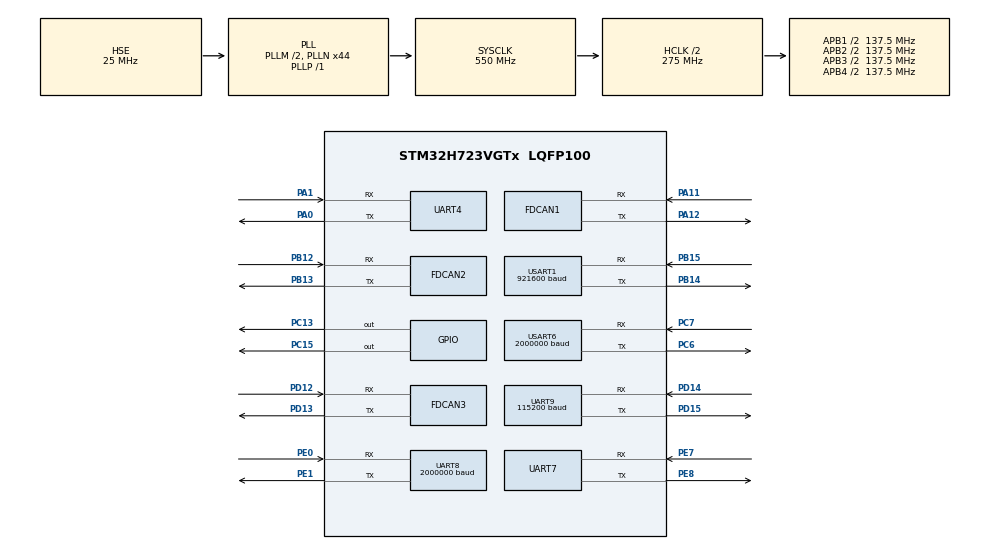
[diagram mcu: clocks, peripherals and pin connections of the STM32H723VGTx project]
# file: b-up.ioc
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CORTEX_M7.CPU_ICache=Enabled
CORTEX_M7.default_mode_Activation=1
Dma.Request0=USART1_RX
Dma.Request1=USART1_TX
Dma.Request10=USART6_RX
Dma.Request11=USART6_TX
Dma.Request2=UART4_TX
Dma.Request3=UART4_RX
Dma.Request4=UART7_RX
Dma.Request5=UART7_TX
Dma.Request6=UART9_RX
Dma.Request7=UART9_TX
Dma.Request8=UART8_RX
Dma.Request9=UART8_TX
Dma.UART4_RX.3.Direction=DMA_PERIPH_TO_MEMORY
Dma.UART4_RX.3.EventEnable=DISABLE
Dma.UART4_RX.3.FIFOMode=DMA_FIFOMODE_DISABLE
Dma.UART4_RX.3.Instance=DMA1_Stream5
Dma.UART4_RX.3.MemDataAlignment=DMA_MDATAALIGN_BYTE
Dma.UART4_RX.3.MemInc=DMA_MINC_ENABLE
Dma.UART4_RX.3.Mode=DMA_NORMAL
Dma.UART4_RX.3.PeriphDataAlignment=DMA_PDATAALIGN_BYTE
Dma.UART4_RX.3.PeriphInc=DMA_PINC_DISABLE
Dma.UART4_RX.3.Polarity=HAL_DMAMUX_REQ_GEN_RISING
Dma.UART4_RX.3.Priority=DMA_PRIORITY_LOW
Dma.UART4_RX.3.RequestNumber=1
Dma.UART4_RX.3.SignalID=NONE
Dma.UART4_RX.3.SyncEnable=DISABLE
Dma.UART4_RX.3.SyncPolarity=HAL_DMAMUX_SYNC_NO_EVENT
Dma.UART4_RX.3.SyncRequestNumber=1
Dma.UART4_RX.3.SyncSignalID=NONE
Dma.UART4_TX.2.Direction=DMA_MEMORY_TO_PERIPH
Dma.UART4_TX.2.EventEnable=DISABLE
Dma.UART4_TX.2.FIFOMode=DMA_FIFOMODE_DISABLE
Dma.UART4_TX.2.Instance=DMA1_Stream4
Dma.UART4_TX.2.MemDataAlignment=DMA_MDATAALIGN_BYTE
Dma.UART4_TX.2.MemInc=DMA_MINC_ENABLE
Dma.UART4_TX.2.Mode=DMA_NORMAL
Dma.UART4_TX.2.PeriphDataAlignment=DMA_PDATAALIGN_BYTE
Dma.UART4_TX.2.PeriphInc=DMA_PINC_DISABLE
Dma.UART4_TX.2.Polarity=HAL_DMAMUX_REQ_GEN_RISING
Dma.UART4_TX.2.Priority=DMA_PRIORITY_LOW
Dma.UART4_TX.2.RequestNumber=1
Dma.UART4_TX.2.SignalID=NONE
Dma.UART4_TX.2.SyncEnable=DISABLE
Dma.UART4_TX.2.SyncPolarity=HAL_DMAMUX_SYNC_NO_EVENT
Dma.UART4_TX.2.SyncRequestNumber=1
Dma.UART4_TX.2.SyncSignalID=NONE
Dma.UART7_RX.4.Direction=DMA_PERIPH_TO_MEMORY
Dma.UART7_RX.4.EventEnable=DISABLE
Dma.UART7_RX.4.FIFOMode=DMA_FIFOMODE_DISABLE
Dma.UART7_RX.4.Instance=DMA1_Stream6
Dma.UART7_RX.4.MemDataAlignment=DMA_MDATAALIGN_BYTE
Dma.UART7_RX.4.MemInc=DMA_MINC_ENABLE
Dma.UART7_RX.4.Mode=DMA_CIRCULAR
Dma.UART7_RX.4.PeriphDataAlignment=DMA_PDATAALIGN_BYTE
Dma.UART7_RX.4.PeriphInc=DMA_PINC_DISABLE
Dma.UART7_RX.4.Polarity=HAL_DMAMUX_REQ_GEN_RISING
Dma.UART7_RX.4.Priority=DMA_PRIORITY_LOW
Dma.UART7_RX.4.RequestNumber=1
Dma.UART7_RX.4.SignalID=NONE
Dma.UART7_RX.4.SyncEnable=DISABLE
Dma.UART7_RX.4.SyncPolarity=HAL_DMAMUX_SYNC_NO_EVENT
Dma.UART7_RX.4.SyncRequestNumber=1
Dma.UART7_RX.4.SyncSignalID=NONE
Dma.UART7_TX.5.Direction=DMA_MEMORY_TO_PERIPH
Dma.UART7_TX.5.EventEnable=DISABLE
Dma.UART7_TX.5.FIFOMode=DMA_FIFOMODE_DISABLE
Dma.UART7_TX.5.Instance=DMA1_Stream7
Dma.UART7_TX.5.MemDataAlignment=DMA_MDATAALIGN_BYTE
Dma.UART7_TX.5.MemInc=DMA_MINC_ENABLE
Dma.UART7_TX.5.Mode=DMA_NORMAL
Dma.UART7_TX.5.PeriphDataAlignment=DMA_PDATAALIGN_BYTE
Dma.UART7_TX.5.PeriphInc=DMA_PINC_DISABLE
Dma.UART7_TX.5.Polarity=HAL_DMAMUX_REQ_GEN_RISING
Dma.UART7_TX.5.Priority=DMA_PRIORITY_LOW
Dma.UART7_TX.5.RequestNumber=1
Dma.UART7_TX.5.SignalID=NONE
Dma.UART7_TX.5.SyncEnable=DISABLE
Dma.UART7_TX.5.SyncPolarity=HAL_DMAMUX_SYNC_NO_EVENT
Dma.UART7_TX.5.SyncRequestNumber=1
Dma.UART7_TX.5.SyncSignalID=NONE
Dma.UART8_RX.8.Direction=DMA_PERIPH_TO_MEMORY
Dma.UART8_RX.8.EventEnable=DISABLE
Dma.UART8_RX.8.FIFOMode=DMA_FIFOMODE_DISABLE
Dma.UART8_RX.8.Instance=DMA2_Stream2
Dma.UART8_RX.8.MemDataAlignment=DMA_MDATAALIGN_BYTE
Dma.UART8_RX.8.MemInc=DMA_MINC_ENABLE
Dma.UART8_RX.8.Mode=DMA_NORMAL
Dma.UART8_RX.8.PeriphDataAlignment=DMA_PDATAALIGN_BYTE
Dma.UART8_RX.8.PeriphInc=DMA_PINC_DISABLE
Dma.UART8_RX.8.Polarity=HAL_DMAMUX_REQ_GEN_RISING
Dma.UART8_RX.8.Priority=DMA_PRIORITY_LOW
Dma.UART8_RX.8.RequestNumber=1
Dma.UART8_RX.8.SignalID=NONE
Dma.UART8_RX.8.SyncEnable=DISABLE
Dma.UART8_RX.8.SyncPolarity=HAL_DMAMUX_SYNC_NO_EVENT
Dma.UART8_RX.8.SyncRequestNumber=1
Dma.UART8_RX.8.SyncSignalID=NONE
Dma.UART8_TX.9.Direction=DMA_MEMORY_TO_PERIPH
Dma.UART8_TX.9.EventEnable=DISABLE
Dma.UART8_TX.9.FIFOMode=DMA_FIFOMODE_DISABLE
Dma.UART8_TX.9.Instance=DMA2_Stream3
Dma.UART8_TX.9.MemDataAlignment=DMA_MDATAALIGN_BYTE
Dma.UART8_TX.9.MemInc=DMA_MINC_ENABLE
Dma.UART8_TX.9.Mode=DMA_NORMAL
Dma.UART8_TX.9.PeriphDataAlignment=DMA_PDATAALIGN_BYTE
Dma.UART8_TX.9.PeriphInc=DMA_PINC_DISABLE
Dma.UART8_TX.9.Polarity=HAL_DMAMUX_REQ_GEN_RISING
Dma.UART8_TX.9.Priority=DMA_PRIORITY_LOW
Dma.UART8_TX.9.RequestNumber=1
Dma.UART8_TX.9.SignalID=NONE
Dma.UART8_TX.9.SyncEnable=DISABLE
Dma.UART8_TX.9.SyncPolarity=HAL_DMAMUX_SYNC_NO_EVENT
Dma.UART8_TX.9.SyncRequestNumber=1
Dma.UART8_TX.9.SyncSignalID=NONE
Dma.UART9_RX.6.Direction=DMA_PERIPH_TO_MEMORY
Dma.UART9_RX.6.EventEnable=DISABLE
Dma.UART9_RX.6.FIFOMode=DMA_FIFOMODE_DISABLE
Dma.UART9_RX.6.Instance=DMA2_Stream0
Dma.UART9_RX.6.MemDataAlignment=DMA_MDATAALIGN_BYTE
Dma.UART9_RX.6.MemInc=DMA_MINC_ENABLE
Dma.UART9_RX.6.Mode=DMA_NORMAL
Dma.UART9_RX.6.PeriphDataAlignment=DMA_PDATAALIGN_BYTE
Dma.UART9_RX.6.PeriphInc=DMA_PINC_DISABLE
Dma.UART9_RX.6.Polarity=HAL_DMAMUX_REQ_GEN_RISING
Dma.UART9_RX.6.Priority=DMA_PRIORITY_LOW
Dma.UART9_RX.6.RequestNumber=1
Dma.UART9_RX.6.SignalID=NONE
Dma.UART9_RX.6.SyncEnable=DISABLE
Dma.UART9_RX.6.SyncPolarity=HAL_DMAMUX_SYNC_NO_EVENT
Dma.UART9_RX.6.SyncRequestNumber=1
Dma.UART9_RX.6.SyncSignalID=NONE
Dma.UART9_TX.7.Direction=DMA_MEMORY_TO_PERIPH
Dma.UART9_TX.7.EventEnable=DISABLE
Dma.UART9_TX.7.FIFOMode=DMA_FIFOMODE_DISABLE
Dma.UART9_TX.7.Instance=DMA2_Stream1
Dma.UART9_TX.7.MemDataAlignment=DMA_MDATAALIGN_BYTE
Dma.UART9_TX.7.MemInc=DMA_MINC_ENABLE
Dma.UART9_TX.7.Mode=DMA_NORMAL
Dma.UART9_TX.7.PeriphDataAlignment=DMA_PDATAALIGN_BYTE
Dma.UART9_TX.7.PeriphInc=DMA_PINC_DISABLE
Dma.UART9_TX.7.Polarity=HAL_DMAMUX_REQ_GEN_RISING
Dma.UART9_TX.7.Priority=DMA_PRIORITY_LOW
Dma.UART9_TX.7.RequestNumber=1
Dma.UART9_TX.7.SignalID=NONE
Dma.UART9_TX.7.SyncEnable=DISABLE
Dma.UART9_TX.7.SyncPolarity=HAL_DMAMUX_SYNC_NO_EVENT
Dma.UART9_TX.7.SyncRequestNumber=1
Dma.UART9_TX.7.SyncSignalID=NONE
Dma.USART1_RX.0.Direction=DMA_PERIPH_TO_MEMORY
Dma.USART1_RX.0.EventEnable=DISABLE
Dma.USART1_RX.0.FIFOMode=DMA_FIFOMODE_DISABLE
Dma.USART1_RX.0.Instance=DMA1_Stream2
Dma.USART1_RX.0.MemDataAlignment=DMA_MDATAALIGN_BYTE
Dma.USART1_RX.0.MemInc=DMA_MINC_ENABLE
Dma.USART1_RX.0.Mode=DMA_CIRCULAR
Dma.USART1_RX.0.PeriphDataAlignment=DMA_PDATAALIGN_BYTE
Dma.USART1_RX.0.PeriphInc=DMA_PINC_DISABLE
Dma.USART1_RX.0.Polarity=HAL_DMAMUX_REQ_GEN_RISING
Dma.USART1_RX.0.Priority=DMA_PRIORITY_VERY_HIGH
Dma.USART1_RX.0.RequestNumber=1
Dma.USART1_RX.0.SignalID=NONE
Dma.USART1_RX.0.SyncEnable=DISABLE
Dma.USART1_RX.0.SyncPolarity=HAL_DMAMUX_SYNC_NO_EVENT
Dma.USART1_RX.0.SyncRequestNumber=1
Dma.USART1_RX.0.SyncSignalID=NONE
Dma.USART1_TX.1.Direction=DMA_MEMORY_TO_PERIPH
Dma.USART1_TX.1.EventEnable=DISABLE
Dma.USART1_TX.1.FIFOMode=DMA_FIFOMODE_DISABLE
Dma.USART1_TX.1.Instance=DMA1_Stream3
Dma.USART1_TX.1.MemDataAlignment=DMA_MDATAALIGN_BYTE
Dma.USART1_TX.1.MemInc=DMA_MINC_ENABLE
Dma.USART1_TX.1.Mode=DMA_NORMAL
Dma.USART1_TX.1.PeriphDataAlignment=DMA_PDATAALIGN_BYTE
Dma.USART1_TX.1.PeriphInc=DMA_PINC_DISABLE
Dma.USART1_TX.1.Polarity=HAL_DMAMUX_REQ_GEN_RISING
Dma.USART1_TX.1.Priority=DMA_PRIORITY_HIGH
Dma.USART1_TX.1.RequestNumber=1
Dma.USART1_TX.1.SignalID=NONE
Dma.USART1_TX.1.SyncEnable=DISABLE
Dma.USART1_TX.1.SyncPolarity=HAL_DMAMUX_SYNC_NO_EVENT
Dma.USART1_TX.1.SyncRequestNumber=1
Dma.USART1_TX.1.SyncSignalID=NONE
Dma.USART6_RX.10.Direction=DMA_PERIPH_TO_MEMORY
Dma.USART6_RX.10.EventEnable=DISABLE
Dma.USART6_RX.10.FIFOMode=DMA_FIFOMODE_DISABLE
Dma.USART6_RX.10.Instance=DMA1_Stream0
Dma.USART6_RX.10.MemDataAlignment=DMA_MDATAALIGN_BYTE
Dma.USART6_RX.10.MemInc=DMA_MINC_ENABLE
Dma.USART6_RX.10.Mode=DMA_CIRCULAR
Dma.USART6_RX.10.PeriphDataAlignment=DMA_PDATAALIGN_BYTE
Dma.USART6_RX.10.PeriphInc=DMA_PINC_DISABLE
Dma.USART6_RX.10.Polarity=HAL_DMAMUX_REQ_GEN_RISING
Dma.USART6_RX.10.Priority=DMA_PRIORITY_LOW
Dma.USART6_RX.10.RequestNumber=1
Dma.USART6_RX.10.SignalID=NONE
Dma.USART6_RX.10.SyncEnable=DISABLE
Dma.USART6_RX.10.SyncPolarity=HAL_DMAMUX_SYNC_NO_EVENT
Dma.USART6_RX.10.SyncRequestNumber=1
Dma.USART6_RX.10.SyncSignalID=NONE
Dma.USART6_TX.11.Direction=DMA_MEMORY_TO_PERIPH
Dma.USART6_TX.11.EventEnable=DISABLE
Dma.USART6_TX.11.FIFOMode=DMA_FIFOMODE_DISABLE
Dma.USART6_TX.11.Instance=DMA1_Stream1
Dma.USART6_TX.11.MemDataAlignment=DMA_MDATAALIGN_BYTE
Dma.USART6_TX.11.MemInc=DMA_MINC_ENABLE
Dma.USART6_TX.11.Mode=DMA_NORMAL
Dma.USART6_TX.11.PeriphDataAlignment=DMA_PDATAALIGN_BYTE
Dma.USART6_TX.11.PeriphInc=DMA_PINC_DISABLE
Dma.USART6_TX.11.Polarity=HAL_DMAMUX_REQ_GEN_RISING
Dma.USART6_TX.11.Priority=DMA_PRIORITY_LOW
Dma.USART6_TX.11.RequestNumber=1
Dma.USART6_TX.11.SignalID=NONE
Dma.USART6_TX.11.SyncEnable=DISABLE
Dma.USART6_TX.11.SyncPolarity=HAL_DMAMUX_SYNC_NO_EVENT
Dma.USART6_TX.11.SyncRequestNumber=1
Dma.USART6_TX.11.SyncSignalID=NONE
FDCAN1.AutoRetransmission=ENABLE
FDCAN1.CalculateBaudRateNominal=1000000
FDCAN1.CalculateTimeBitNominal=1000
FDCAN1.CalculateTimeQuantumNominal=50.0
FDCAN1.DataPrescaler=5
FDCAN1.DataSyncJumpWidth=5
FDCAN1.DataTimeSeg1=14
FDCAN1.DataTimeSeg2=5
FDCAN1.ExtFiltersNbr=8
FDCAN1.MessageRAMOffset=0
FDCAN1.NominalPrescaler=5
FDCAN1.NominalSyncJumpWidth=5
FDCAN1.NominalTimeSeg1=14
FDCAN1.NominalTimeSeg2=5
FDCAN1.RxFifo0ElmtsNbr=32
FDCAN1.TxFifoQueueElmtsNbr=16
FDCAN2.AutoRetransmission=ENABLE
FDCAN2.CalculateBaudRateNominal=1000000
FDCAN2.CalculateTimeBitNominal=1000
FDCAN2.CalculateTimeQuantumNominal=50.0
FDCAN2.DataPrescaler=5
FDCAN2.DataSyncJumpWidth=5
FDCAN2.DataTimeSeg1=14
FDCAN2.DataTimeSeg2=5
FDCAN2.ExtFiltersNbr=8
FDCAN2.MessageRAMOffset=208
FDCAN2.NominalPrescaler=5
FDCAN2.NominalSyncJumpWidth=5
FDCAN2.NominalTimeSeg1=14
FDCAN2.NominalTimeSeg2=5
FDCAN2.RxFifo0ElmtsNbr=32
FDCAN2.TxFifoQueueElmtsNbr=16
FDCAN3.AutoRetransmission=ENABLE
FDCAN3.CalculateBaudRateNominal=1000000
FDCAN3.CalculateTimeBitNominal=1000
FDCAN3.CalculateTimeQuantumNominal=50.0
FDCAN3.DataPrescaler=5
FDCAN3.DataSyncJumpWidth=5
FDCAN3.DataTimeSeg1=14
FDCAN3.DataTimeSeg2=5
FDCAN3.MessageRAMOffset=416
FDCAN3.NominalPrescaler=5
FDCAN3.NominalSyncJumpWidth=5
FDCAN3.NominalTimeSeg1=14
FDCAN3.NominalTimeSeg2=5
FDCAN3.RxFifo0ElmtsNbr=32
FDCAN3.StdFiltersNbr=8
FDCAN3.TxFifoQueueElmtsNbr=16
FREERTOS.HEAP_NUMBER=4
FREERTOS.INCLUDE_eTaskGetState=1
FREERTOS.INCLUDE_uxTaskGetStackHighWaterMark=1
FREERTOS.INCLUDE_vTaskDelayUntil=1
FREERTOS.Tasks01=startupReminder,24,256,StartStartupReminderTask,As weak,NULL,Dynamic,NULL,NULL;chassisTask,32,1024,StartChassisTask,As weak,NULL,Dynamic,NULL,NULL;liftTask,32,1024,StartLiftTask,As weak,NULL,Dynamic,NULL,NULL;commTask,40,768,StartCommTask,As weak,NULL,Dynamic,NULL,NULL
FREERTOS.configCHECK_FOR_STACK_OVERFLOW=2
FREERTOS.configENABLE_FPU=1
FREERTOS.configMINIMAL_STACK_SIZE=256
FREERTOS.configTICK_RATE_HZ=1000
FREERTOS.configTOTAL_HEAP_SIZE=65536
FREERTOS.configUSE_MALLOC_FAILED_HOOK=1
FREERTOS.configUSE_NEWLIB_REENTRANT=0
FREERTOS.configUSE_PREEMPTION=1
FREERTOS.configUSE_TIMERS=0
Mcu.Family=STM32H7
Mcu.Name=STM32H723VGTx
Mcu.Package=LQFP100
NVIC.DMA1_Stream0_IRQn=true\:5\:0\:false\:false\:true\:true\:true\:true\:true
NVIC.DMA1_Stream1_IRQn=true\:5\:0\:false\:false\:true\:true\:true\:true\:true
NVIC.DMA1_Stream2_IRQn=true\:5\:0\:false\:false\:true\:false\:true\:true\:true
NVIC.DMA1_Stream3_IRQn=true\:5\:0\:false\:false\:true\:false\:true\:true\:true
NVIC.DMA1_Stream4_IRQn=true\:5\:0\:false\:false\:true\:true\:false\:true\:true
NVIC.DMA1_Stream5_IRQn=true\:5\:0\:false\:false\:true\:true\:false\:true\:true
NVIC.DMA1_Stream6_IRQn=true\:5\:0\:false\:false\:true\:true\:false\:true\:true
NVIC.DMA1_Stream7_IRQn=true\:5\:0\:false\:false\:true\:true\:false\:true\:true
NVIC.DMA2_Stream0_IRQn=true\:5\:0\:false\:false\:true\:true\:false\:true\:true
NVIC.DMA2_Stream1_IRQn=true\:5\:0\:false\:false\:true\:true\:false\:true\:true
NVIC.DMA2_Stream2_IRQn=true\:5\:0\:false\:false\:true\:true\:false\:true\:true
NVIC.DMA2_Stream3_IRQn=true\:5\:0\:false\:false\:true\:true\:false\:true\:true
NVIC.FDCAN1_IT0_IRQn=true\:5\:0\:false\:false\:true\:true\:true\:true\:true
NVIC.FDCAN2_IT0_IRQn=true\:5\:0\:false\:false\:true\:true\:true\:true\:true
NVIC.FDCAN3_IT0_IRQn=true\:5\:0\:false\:false\:true\:true\:true\:true\:true
NVIC.PriorityGroup=NVIC_PRIORITYGROUP_4
NVIC.TIM6_DAC_IRQn=true\:15\:0\:false\:false\:true\:false\:false\:true\:true
NVIC.TimeBase=TIM6_DAC_IRQn
NVIC.TimeBaseIP=TIM6
NVIC.UART4_IRQn=true\:5\:0\:false\:false\:true\:true\:false\:true\:true
NVIC.UART7_IRQn=true\:5\:0\:false\:false\:true\:true\:true\:true\:true
NVIC.UART8_IRQn=true\:5\:0\:false\:false\:true\:true\:true\:true\:true
NVIC.UART9_IRQn=true\:5\:0\:false\:false\:true\:true\:true\:true\:true
NVIC.USART1_IRQn=true\:5\:0\:false\:false\:true\:false\:true\:true\:true
NVIC.USART6_IRQn=true\:5\:0\:false\:false\:true\:true\:true\:true\:true
PA0.Mode=Asynchronous
PA0.Signal=UART4_TX
PA1.Mode=Asynchronous
PA1.Signal=UART4_RX
PA11.Mode=FDCAN_Activate
PA11.Signal=FDCAN1_RX
PA12.Mode=FDCAN_Activate
PA12.Signal=FDCAN1_TX
PA13(JTMS/SWDIO).Mode=Serial_Wire
PA13(JTMS/SWDIO).Signal=DEBUG_JTMS-SWDIO
PA14(JTCK/SWCLK).Mode=Serial_Wire
PA14(JTCK/SWCLK).Signal=DEBUG_JTCK-SWCLK
PB12.Mode=FDCAN_Activate
PB12.Signal=FDCAN2_RX
PB13.Mode=FDCAN_Activate
PB13.Signal=FDCAN2_TX
PB14.Mode=Asynchronous
PB14.Signal=USART1_TX
PB15.Mode=Asynchronous
PB15.Signal=USART1_RX
PC13.Signal=GPIO_Output
PC15-OSC32_OUT.Signal=GPIO_Output
PC6.Mode=Asynchronous
PC6.Signal=USART6_TX
PC7.Mode=Asynchronous
PC7.Signal=USART6_RX
PD12.Mode=FDCAN_Activate
PD12.Signal=FDCAN3_RX
PD13.Mode=FDCAN_Activate
PD13.Signal=FDCAN3_TX
PD14.Mode=Asynchronous
PD14.Signal=UART9_RX
PD15.Mode=Asynchronous
PD15.Signal=UART9_TX
PE0.Mode=Asynchronous
PE0.Signal=UART8_RX
PE1.Mode=Asynchronous
PE1.Signal=UART8_TX
PE7.Mode=Asynchronous
PE7.Signal=UART7_RX
PE8.Mode=Asynchronous
PE8.Signal=UART7_TX
PH0-OSC_IN.Mode=HSE-External-Oscillator
PH0-OSC_IN.Signal=RCC_OSC_IN
PH1-OSC_OUT.Mode=HSE-External-Oscillator
PH1-OSC_OUT.Signal=RCC_OSC_OUT
ProjectManager.HeapSize=0x200
ProjectManager.StackSize=0x1000
ProjectManager.TargetToolchain=MDK-ARM V5.32
RCC.ADCFreq_Value=100000000
RCC.APB1Freq_Value=137500000
RCC.APB2Freq_Value=137500000
RCC.APB3Freq_Value=137500000
RCC.APB4Freq_Value=137500000
RCC.CortexFreq_Value=550000000
RCC.D1PPRE=RCC_APB3_DIV2
RCC.D2PPRE1=RCC_APB1_DIV2
RCC.D2PPRE2=RCC_APB2_DIV2
RCC.D3PPRE=RCC_APB4_DIV2
RCC.DIVM1=2
RCC.DIVM2=2
RCC.DIVM3=5
RCC.DIVN1=44
RCC.DIVN2=16
RCC.DIVN3=64
RCC.DIVP1=1
RCC.DIVQ1=4
RCC.DIVQ2=2
RCC.FDCANCLockSelection=RCC_FDCANCLKSOURCE_PLL2
RCC.HCLKFreq_Value=275000000
RCC.HPRE=RCC_HCLK_DIV2
RCC.PLL2FRACN=0
RCC.PLLFRACN=0
RCC.PLLSourceVirtual=RCC_PLLSOURCE_HSE
RCC.SYSCLKFreq_VALUE=550000000
RCC.SYSCLKSource=RCC_SYSCLKSOURCE_PLLCLK
RCC.USART234578CLockSelection=RCC_USART234578CLKSOURCE_PLL2
RCC.USBFreq_Value=137500000
UART8.BaudRate=2000000
UART9.BaudRate=115200
USART1.BaudRate=921600
USART1.VirtualMode-Asynchronous=VM_ASYNC
USART6.BaudRate=2000000
USART6.VirtualMode=VM_ASYNC
VP_FREERTOS_VS_CMSIS_V2.Mode=CMSIS_V2
VP_MEMORYMAP_VS_MEMORYMAP.Mode=CurAppReg
VP_SYS_VS_tim6.Mode=TIM6
board=custom

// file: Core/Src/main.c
/* USER CODE BEGIN Header */
/**
  ******************************************************************************
  * @file           : main.c
  * @brief          : Main program body
  ******************************************************************************
  * @attention
  *
  * Copyright (c) 2026 STMicroelectronics.
  * All rights reserved.
  *
  * This software is licensed under terms that can be found in the LICENSE file
  * in the root directory of this software component.
  * If no LICENSE file comes with this software, it is provided AS-IS.
  *
  ******************************************************************************
  */
/* USER CODE END Header */
#include "main.h"
#include "FreeRTOS.h"
#include "cmsis_os2.h"
#include "dma.h"
#include "fdcan.h"
#include "usart.h"
#include "gpio.h"

/* USER CODE BEGIN Includes */
#include "computer_link.h"
#include "dt35_pnp_link.h"
#include "imu_main.h"
#include "lora_link.h"
#include "mcu_link.h"

/* USER CODE END Includes */

void SystemClock_Config(void);
void PeriphCommonClock_Config(void);
static void MPU_Config(void);
void MX_FREERTOS_Init(void);

int main(void)
{

  /* MPU Configuration--------------------------------------------------------*/
  MPU_Config();

  /* Enable the CPU Cache */

  /* Enable I-Cache---------------------------------------------------------*/
  SCB_EnableICache();

  /* MCU Configuration--------------------------------------------------------*/

  /* Reset of all peripherals, Initializes the Flash interface and the Systick. */
  HAL_Init();

  /* Configure the system clock */
  SystemClock_Config();

  /* Configure the peripherals common clocks */
  PeriphCommonClock_Config();

  /* Initialize all configured peripherals */
  MX_GPIO_Init();
  MX_DMA_Init();
  MX_FDCAN1_Init();
  MX_FDCAN2_Init();
  MX_FDCAN3_Init();
  MX_USART1_UART_Init();
  MX_UART4_Init();
  MX_UART7_Init();
  MX_UART9_Init();
  MX_UART8_Init();
  MX_USART6_UART_Init();
  /* USER CODE BEGIN 2 */
  HAL_Delay(1000);
  /* USER CODE END 2 */

  /* Init scheduler */
  osKernelInitialize();  /* Call init function for freertos objects (in cmsis_os2.c) */
  MX_FREERTOS_Init();

  /* Start scheduler */
  osKernelStart();

  /* We should never get here as control is now taken by the scheduler */

  /* Infinite loop */
  while (1)
  {

  }
}

void SystemClock_Config(void)
{
  RCC_OscInitTypeDef RCC_OscInitStruct = {0};
  RCC_ClkInitTypeDef RCC_ClkInitStruct = {0};

  /** Supply configuration update enable
  */
  HAL_PWREx_ConfigSupply(PWR_LDO_SUPPLY);

  /** Configure the main internal regulator output voltage
  */
  __HAL_PWR_VOLTAGESCALING_CONFIG(PWR_REGULATOR_VOLTAGE_SCALE0);

  while(!__HAL_PWR_GET_FLAG(PWR_FLAG_VOSRDY)) {}

  /** Initializes the RCC Oscillators according to the specified parameters
  * in the RCC_OscInitTypeDef structure.
  */
  RCC_OscInitStruct.OscillatorType = RCC_OSCILLATORTYPE_HSE;
  RCC_OscInitStruct.HSEState = RCC_HSE_ON;
  RCC_OscInitStruct.PLL.PLLState = RCC_PLL_ON;
  RCC_OscInitStruct.PLL.PLLSource = RCC_PLLSOURCE_HSE;
  RCC_OscInitStruct.PLL.PLLM = 2;
  RCC_OscInitStruct.PLL.PLLN = 44;
  RCC_OscInitStruct.PLL.PLLP = 1;
  RCC_OscInitStruct.PLL.PLLQ = 4;
  RCC_OscInitStruct.PLL.PLLR = 2;
  RCC_OscInitStruct.PLL.PLLRGE = RCC_PLL1VCIRANGE_3;
  RCC_OscInitStruct.PLL.PLLVCOSEL = RCC_PLL1VCOWIDE;
  RCC_OscInitStruct.PLL.PLLFRACN = 0;
  if (HAL_RCC_OscConfig(&RCC_OscInitStruct) != HAL_OK)
  {
    Error_Handler();
  }

  /** Initializes the CPU, AHB and APB buses clocks
  */
  RCC_ClkInitStruct.ClockType = RCC_CLOCKTYPE_HCLK|RCC_CLOCKTYPE_SYSCLK
                              |RCC_CLOCKTYPE_PCLK1|RCC_CLOCKTYPE_PCLK2
                              |RCC_CLOCKTYPE_D3PCLK1|RCC_CLOCKTYPE_D1PCLK1;
  RCC_ClkInitStruct.SYSCLKSource = RCC_SYSCLKSOURCE_PLLCLK;
  RCC_ClkInitStruct.SYSCLKDivider = RCC_SYSCLK_DIV1;
  RCC_ClkInitStruct.AHBCLKDivider = RCC_HCLK_DIV2;
  RCC_ClkInitStruct.APB3CLKDivider = RCC_APB3_DIV2;
  RCC_ClkInitStruct.APB1CLKDivider = RCC_APB1_DIV2;
  RCC_ClkInitStruct.APB2CLKDivider = RCC_APB2_DIV2;
  RCC_ClkInitStruct.APB4CLKDivider = RCC_APB4_DIV2;

  if (HAL_RCC_ClockConfig(&RCC_ClkInitStruct, FLASH_LATENCY_3) != HAL_OK)
  {
    Error_Handler();
  }
}

void PeriphCommonClock_Config(void)
{
  RCC_PeriphCLKInitTypeDef PeriphClkInitStruct = {0};

  /** Initializes the peripherals clock
  */
  PeriphClkInitStruct.PeriphClockSelection = RCC_PERIPHCLK_UART8|RCC_PERIPHCLK_FDCAN
                              |RCC_PERIPHCLK_UART7|RCC_PERIPHCLK_UART4;
  PeriphClkInitStruct.PLL2.PLL2M = 2;
  PeriphClkInitStruct.PLL2.PLL2N = 16;
  PeriphClkInitStruct.PLL2.PLL2P = 2;
  PeriphClkInitStruct.PLL2.PLL2Q = 2;
  PeriphClkInitStruct.PLL2.PLL2R = 2;
  PeriphClkInitStruct.PLL2.PLL2RGE = RCC_PLL2VCIRANGE_3;
  PeriphClkInitStruct.PLL2.PLL2VCOSEL = RCC_PLL2VCOWIDE;
  PeriphClkInitStruct.PLL2.PLL2FRACN = 0;
  PeriphClkInitStruct.FdcanClockSelection = RCC_FDCANCLKSOURCE_PLL2;
  PeriphClkInitStruct.Usart234578ClockSelection = RCC_USART234578CLKSOURCE_PLL2;
  if (HAL_RCCEx_PeriphCLKConfig(&PeriphClkInitStruct) != HAL_OK)
  {
    Error_Handler();
  }
}

/* USER CODE BEGIN 4 */
void HAL_UART_RxCpltCallback(UART_HandleTypeDef *huart)
{
  ComputerLink_RxCplt(huart);
  DT35PnpLink_RxCplt(huart);
}

void HAL_UARTEx_RxEventCallback(UART_HandleTypeDef *huart, uint16_t size)
{
  ImuMain_HandleRxEvent(huart, size);
}

void HAL_UART_TxCpltCallback(UART_HandleTypeDef *huart)
{
  LoraLink_HandleTxCplt(huart);
  McuLink_HandleTxCplt(huart);
}

void HAL_UART_ErrorCallback(UART_HandleTypeDef *huart)
{
  ComputerLink_Error(huart);
  DT35PnpLink_Error(huart);
  ImuMain_HandleUartError(huart);
  LoraLink_HandleUartError(huart);
  McuLink_HandleUartError(huart);
}

/* USER CODE END 4 */

 /* MPU Configuration */

void MPU_Config(void)
{
  MPU_Region_InitTypeDef MPU_InitStruct = {0};

  /* Disables the MPU */
  HAL_MPU_Disable();

  /** Initializes and configures the Region and the memory to be protected
  */
  MPU_InitStruct.Enable = MPU_REGION_ENABLE;
  MPU_InitStruct.Number = MPU_REGION_NUMBER0;
  MPU_InitStruct.BaseAddress = 0x0;
  MPU_InitStruct.Size = MPU_REGION_SIZE_4GB;
  MPU_InitStruct.SubRegionDisable = 0x87;
  MPU_InitStruct.TypeExtField = MPU_TEX_LEVEL0;
  MPU_InitStruct.AccessPermission = MPU_REGION_NO_ACCESS;
  MPU_InitStruct.DisableExec = MPU_INSTRUCTION_ACCESS_DISABLE;
  MPU_InitStruct.IsShareable = MPU_ACCESS_SHAREABLE;
  MPU_InitStruct.IsCacheable = MPU_ACCESS_NOT_CACHEABLE;
  MPU_InitStruct.IsBufferable = MPU_ACCESS_NOT_BUFFERABLE;

  HAL_MPU_ConfigRegion(&MPU_InitStruct);
  /* Enables the MPU */
  HAL_MPU_Enable(MPU_PRIVILEGED_DEFAULT);

}

void HAL_TIM_PeriodElapsedCallback(TIM_HandleTypeDef *htim)
{
  if (htim->Instance == TIM6)
  {
    HAL_IncTick();
  }
}

void Error_Handler(void)
{
  __disable_irq();
  while (1)
  {
  }
}

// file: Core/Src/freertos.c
/* USER CODE BEGIN Header */
/**
  ******************************************************************************
  * File Name          : freertos.c
  * Description        : Code for freertos applications
  ******************************************************************************
  * @attention
  *
  * Copyright (c) 2026 STMicroelectronics.
  * All rights reserved.
  *
  * This software is licensed under terms that can be found in the LICENSE file
  * in the root directory of this software component.
  * If no LICENSE file comes with this software, it is provided AS-IS.
  *
  ******************************************************************************
  */
/* USER CODE END Header */

#include "FreeRTOS.h"
#include "task.h"
#include "main.h"
#include "FreeRTOS.h"
#include "cmsis_os2.h"

/* USER CODE BEGIN Includes */
#include "action_api.h"
#include "chassis_main.h"
#include "computer_link.h"
#include "dt35_pnp_link.h"
#include "imu_main.h"
#include "path.h"
#include "lora_link.h"
#include "mcu_link.h"
#include "up_main.h"
#include "usart.h"
#include "gpio.h"

/* USER CODE END Includes */

/* Definitions for startupReminder */
osThreadId_t startupReminderHandle;
const osThreadAttr_t startupReminder_attributes = {
  .name = "startupReminder",
  .stack_size = 256 * 4,
  .priority = (osPriority_t) osPriorityNormal,
};
/* Definitions for chassisTask */
osThreadId_t chassisTaskHandle;
const osThreadAttr_t chassisTask_attributes = {
  .name = "chassisTask",
  .stack_size = 1024 * 4,
  .priority = (osPriority_t) osPriorityAboveNormal,
};
/* Definitions for liftTask */
osThreadId_t liftTaskHandle;
const osThreadAttr_t liftTask_attributes = {
  .name = "liftTask",
  .stack_size = 1024 * 4,
  .priority = (osPriority_t) osPriorityAboveNormal,
};
/* Definitions for commTask */
osThreadId_t commTaskHandle;
const osThreadAttr_t commTask_attributes = {
  .name = "commTask",
  .stack_size = 768 * 4,
  .priority = (osPriority_t) osPriorityHigh,
};

void StartStartupReminderTask(void *argument);
void StartChassisTask(void *argument);
void StartLiftTask(void *argument);
void StartCommTask(void *argument);

void MX_FREERTOS_Init(void); /* (MISRA C 2004 rule 8.1) */

/* Hook prototypes */
void vApplicationStackOverflowHook(xTaskHandle xTask, char *pcTaskName);
void vApplicationMallocFailedHook(void);

/* USER CODE BEGIN 4 */
void vApplicationStackOverflowHook(xTaskHandle xTask, char *pcTaskName)
{
   /* Run time stack overflow checking is performed if
   configCHECK_FOR_STACK_OVERFLOW is defined to 1 or 2. This hook function is
   called if a stack overflow is detected. */
}
/* USER CODE END 4 */

/* USER CODE BEGIN 5 */
void vApplicationMallocFailedHook(void)
{

}
/* USER CODE END 5 */

void MX_FREERTOS_Init(void) {
  /* USER CODE BEGIN Init */
  Path_Init();

  /* USER CODE END Init */

  /* Create the thread(s) */
  /* creation of startupReminder */
  startupReminderHandle = osThreadNew(StartStartupReminderTask, NULL, &startupReminder_attributes);

  /* creation of chassisTask */
  chassisTaskHandle = osThreadNew(StartChassisTask, NULL, &chassisTask_attributes);

  /* creation of liftTask */
  liftTaskHandle = osThreadNew(StartLiftTask, NULL, &liftTask_attributes);

  /* creation of commTask */
  commTaskHandle = osThreadNew(StartCommTask, NULL, &commTask_attributes);

}

__weak void StartStartupReminderTask(void *argument)
{
  /* USER CODE BEGIN StartStartupReminderTask */
  (void)argument;

  HAL_GPIO_WritePin(GPIOC, GPIO_PIN_13, GPIO_PIN_SET);

  /* 每次 MCU 复位后重新播放两声启动提示音。 */
  for (uint32_t beep = 0U; beep < 2U; beep++)
  {
for (uint32_t cycle = 0U; cycle < 80U; cycle++)
{
  HAL_GPIO_WritePin(GPIOC, GPIO_PIN_15, GPIO_PIN_SET);
  (void)osDelay(1U);
  HAL_GPIO_WritePin(GPIOC, GPIO_PIN_15, GPIO_PIN_RESET);
  (void)osDelay(1U);
}

    (void)osDelay(80U);
  }

  HAL_GPIO_WritePin(GPIOC, GPIO_PIN_15, GPIO_PIN_RESET);
  osThreadExit();
  /* USER CODE END StartStartupReminderTask */
}

__weak void StartChassisTask(void *argument)
{
  /* USER CODE BEGIN StartChassisTask */
  uint32_t next_tick = osKernelGetTickCount();
  HAL_StatusTypeDef chassis_result;
  HAL_StatusTypeDef imu_result;

  (void)argument;
  imu_result = ImuMain_Init();
  chassis_result = Chassis_Init();

  /* Infinite loop */
  for(;;)
  {
    if (imu_result == HAL_OK)
    {
      ImuMain_Run1ms();
    }
    if (chassis_result == HAL_OK)
    {
      Chassis_Run1ms();
    }
    Path_Run1ms(HAL_GetTick());

    /* 自动行驶到达终点提示音：与开机提示音同一蜂鸣器（PC15）。 */
    {
      bool beep_level;

      if (Path_ArrivalBeep(&beep_level))
      {
        HAL_GPIO_WritePin(GPIOC, GPIO_PIN_15,
                          beep_level ? GPIO_PIN_SET : GPIO_PIN_RESET);
      }
    }

    next_tick += 1U;
    (void)osDelayUntil(next_tick);
  }
  /* USER CODE END StartChassisTask */
}

__weak void StartLiftTask(void *argument)
{
  /* USER CODE BEGIN StartLiftTask */
  uint32_t next_tick = osKernelGetTickCount();
  HAL_StatusTypeDef up_result;

  (void)argument;
  up_result = Up_Init();
  /* Infinite loop */
  for(;;)
  {
    if (up_result == HAL_OK)
    {
      Up_Run1ms();
      Action_Run1ms();
    }

    next_tick += 1U;
    (void)osDelayUntil(next_tick);
  }
  /* USER CODE END StartLiftTask */
}

__weak void StartCommTask(void *argument)
{
  /* USER CODE BEGIN StartCommTask */
  (void)argument;
  (void)ComputerLink_Init(&huart4);
  (void)DT35PnpLink_Init(&huart9);
  (void)LoraLink_Init(&huart7);
  (void)McuLink_Init(&huart6);

  /* Infinite loop */
  for(;;)
  {
    DT35PnpLink_Run();
    LoraLink_Run();
    McuLink_Run();
    Action_UpdatePnp(pnp_link[SENSOR_LINK_F_INDEX].trigger,
                     pnp_link[SENSOR_LINK_L_B_INDEX].trigger);
    Action_UpdateAlignSwitch(lora_remote_pd6_switch,
                             lora_remote_online);
    Action_UpdateLiftSwitch(lora_remote_pe0_switch,
                            lora_remote_online);
    Action_UpdateRemoteButtons(lora_remote_buttons,
                               lora_remote_online);
    ComputerLink_Run();
    osDelay(1);
  }
  /* USER CODE END StartCommTask */
}
